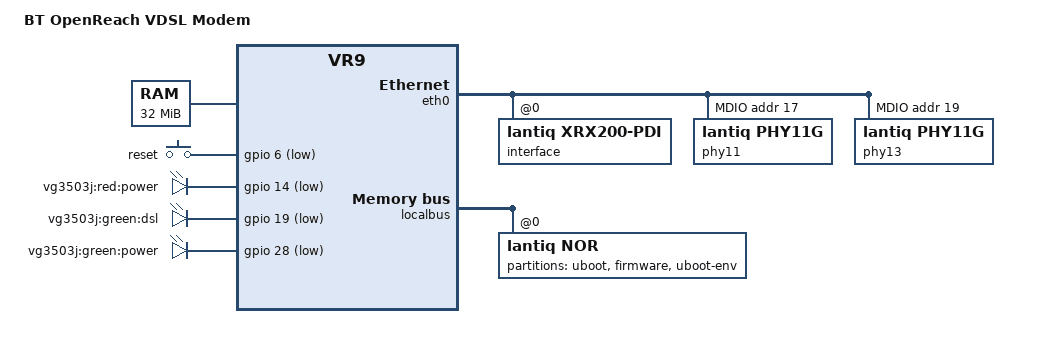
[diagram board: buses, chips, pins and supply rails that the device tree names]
/dts-v1/;

#include "vr9.dtsi"

#include <dt-bindings/input/input.h>
#include <dt-bindings/mips/lantiq_rcu_gphy.h>

/ {
	compatible = "arcadyan,vg3503j", "lantiq,xway", "lantiq,vr9";
	model = "BT OpenReach VDSL Modem";

	chosen {
		bootargs = "console=ttyLTQ0,115200";
	};

	aliases {
		led-boot = &power_green;
		led-failsafe = &power_red;
		led-running = &power_green;
		led-upgrade = &power_green;

		led-dsl = &dsl;
	};

	memory@0 {
		reg = <0x0 0x2000000>;
	};

	gpio-keys-polled {
		compatible = "gpio-keys-polled";
		#address-cells = <1>;
		#size-cells = <0>;
		poll-interval = <100>;
		reset {
			label = "reset";
			gpios = <&gpio 6 GPIO_ACTIVE_LOW>;
			linux,code = <KEY_RESTART>;
		};
	};

	gpio-leds {
		compatible = "gpio-leds";

		power_red: power2 {
			label = "vg3503j:red:power";
			gpios = <&gpio 14 GPIO_ACTIVE_LOW>;
		};
		dsl: dsl {
			label = "vg3503j:green:dsl";
			gpios = <&gpio 19 GPIO_ACTIVE_LOW>;
		};
		power_green: power {
			label = "vg3503j:green:power";
			gpios = <&gpio 28 GPIO_ACTIVE_LOW>;
			default-state = "keep";
		};
	};
};

&eth0 {
	interface@0 {
		compatible = "lantiq,xrx200-pdi";
		#address-cells = <1>;
		#size-cells = <0>;
		reg = <0>;

		lantiq,switch;
		ethernet@2 {
			compatible = "lantiq,xrx200-pdi-port";
			reg = <2>;
			phy-mode = "mii";
			phy-handle = <&phy11>;
		};
		ethernet@4 {
			compatible = "lantiq,xrx200-pdi-port";
			reg = <4>;
			phy-mode = "mii";
			phy-handle = <&phy13>;
		};
	};

	mdio@0 {
		#address-cells = <1>;
		#size-cells = <0>;
		compatible = "lantiq,xrx200-mdio";
		reg = <0>;

		phy11: ethernet-phy@11 {
			reg = <0x11>;
			compatible = "lantiq,phy11g", "ethernet-phy-ieee802.3-c22";
			lantiq,led1h = <0x70>;
			lantiq,led1l = <0x00>;
			lantiq,led2h = <0x00>;
			lantiq,led2l = <0x03>;
		};
		phy13: ethernet-phy@13 {
			reg = <0x13>;
			compatible = "lantiq,phy11g", "ethernet-phy-ieee802.3-c22";
			lantiq,led1h = <0x70>;
			lantiq,led1l = <0x00>;
			lantiq,led2h = <0x00>;
			lantiq,led2l = <0x03>;
		};
	};
};

&gphy0 {
	lantiq,gphy-mode = <GPHY_MODE_GE>;
};

&gphy1 {
	lantiq,gphy-mode = <GPHY_MODE_GE>;
};

&gpio {
	pinctrl-names = "default";
	pinctrl-0 = <&state_default>;

	state_default: pinmux {
		mdio {
			lantiq,groups = "mdio";
			lantiq,function = "mdio";
		};
		gphy-leds {
			lantiq,groups = "gphy0 led0", "gphy0 led1",
					"gphy0 led2", "gphy1 led0",
					"gphy1 led1", "gphy1 led2";
			lantiq,function = "gphy";
			lantiq,pull = <2>;
			lantiq,open-drain = <0>;
			lantiq,output = <1>;
		};
	};
};

&localbus {
	nor@0 {
		compatible = "lantiq,nor";
		bank-width = <2>;
		reg = <0 0x0 0x2000000>;
		#address-cells = <1>;
		#size-cells = <1>;

		partitions {
			compatible = "fixed-partitions";
			#address-cells = <1>;
			#size-cells = <1>;

			partition@0 {
				label = "uboot";
				reg = <0x00000 0x20000>;
			};

			partition@20000 {
				label = "firmware";
				reg = <0x20000 0x7d0000>;
			};

			partition@7f0000 {
				label = "uboot-env";
				reg = <0x7f0000 0x10000>;
			};
		};
	};
};
